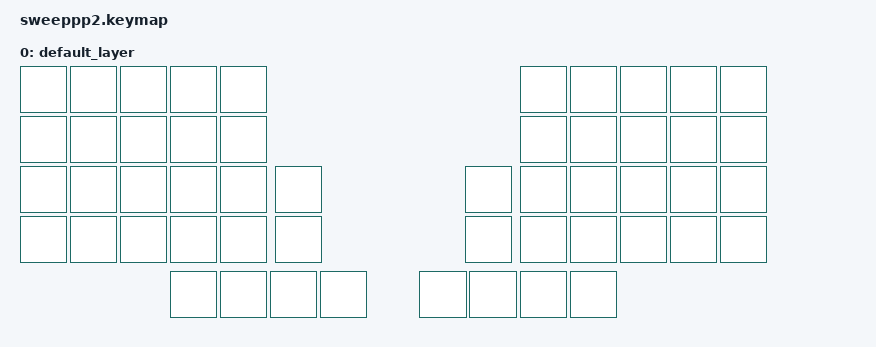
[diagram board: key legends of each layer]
#include <behaviors.dtsi>
#include <dt-bindings/zmk/keys.h>
#include <dt-bindings/zmk/bt.h>

&nice_view_spi {
    cs-gpios = <&pro_micro 2 GPIO_ACTIVE_HIGH>;
};

/ {
    combos {
        compatible = "zmk,combos";

        c1 { bindings = <&kp A>; key-positions = <10>; };
        c2 { bindings = <&kp O>; key-positions = <11>; };
        c3 { bindings = <&kp E>; key-positions = <12>; };
        c4 { bindings = <&kp U>; key-positions = <12 13>; };
        c5 { bindings = <&kp I>; key-positions = <13>; };
        c6 { bindings = <&kp D>; key-positions = <16 17>; };
        c7 { bindings = <&kp H>; key-positions = <16>; };
        c8 { bindings = <&kp T>; key-positions = <17>; };
        c9 { bindings = <&kp N>; key-positions = <18>; };
        c10 { bindings = <&kp S>; key-positions = <19>; };
        c11 { bindings = <&kp SQT>; key-positions = <10 18>; };
        c12 { bindings = <&kp COMMA>; key-positions = <10 11>; };
        c13 { bindings = <&kp DOT>; key-positions = <11 12>; };
        c14 { bindings = <&kp P>; key-positions = <10 13>; };
        c15 { bindings = <&kp Y>; key-positions = <11 13>; };
        c16 { bindings = <&kp F>; key-positions = <13 16>; };
        c17 { bindings = <&kp G>; key-positions = <16 18>; };
        c18 { bindings = <&kp C>; key-positions = <12 17>; };
        c19 { bindings = <&kp R>; key-positions = <17 18>; };
        c20 { bindings = <&kp L>; key-positions = <18 19>; };
        c21 { bindings = <&kp SEMI>; key-positions = <10 16>; };
        c22 { bindings = <&kp Q>; key-positions = <11 18>; };
        c23 { bindings = <&kp J>; key-positions = <12 16>; };
        c24 { bindings = <&kp K>; key-positions = <13 17>; };
        c25 { bindings = <&kp X>; key-positions = <13 18>; };
        c26 { bindings = <&kp B>; key-positions = <11 16>; };
        c27 { bindings = <&kp M>; key-positions = <16 19>; };
        c28 { bindings = <&kp W>; key-positions = <11 17>; };
        c29 { bindings = <&kp V>; key-positions = <12 18>; };
        c30 { bindings = <&kp Z>; key-positions = <17 19>; };
        c31 { bindings = <&kp NUBS>; key-positions = <10 19>; };
        c32 { bindings = <&kp FSLH>; key-positions = <13 19>; };
        c33 { bindings = <&kp LBKT>; key-positions = <10 17>; };
        c34 { bindings = <&kp RBKT>; key-positions = <12 19>; };
        c35 { bindings = <&kp ESC>; key-positions = <11 19>; };
        c36 { bindings = <&kp TAB>; key-positions = <10 12>; };
        c37 { bindings = <&kp GRAVE>; key-positions = <11 12 13>; };
        c38 { bindings = <&kp N1>; key-positions = <12 13 16>; };
        c39 { bindings = <&kp N2>; key-positions = <12 13 17>; };
        c40 { bindings = <&kp N3>; key-positions = <12 13 18>; };
        c41 { bindings = <&kp N4>; key-positions = <12 13 19>; };
        c42 { bindings = <&kp N5>; key-positions = <11 12 16>; };
        c43 { bindings = <&kp N6>; key-positions = <11 12 17>; };
        c44 { bindings = <&kp N7>; key-positions = <11 12 18>; };
        c45 { bindings = <&kp N8>; key-positions = <11 12 19>; };
        c46 { bindings = <&kp N9>; key-positions = <10 11 16>; };
        c47 { bindings = <&kp N0>; key-positions = <10 11 17>; };
        c48 { bindings = <&kp EQUAL>; key-positions = <10 11 18>; };
        c49 { bindings = <&kp MINUS>; key-positions = <10 11 19>; };
        c50 { bindings = <&kp F1>; key-positions = <13 16 17>; };
        c51 { bindings = <&kp F2>; key-positions = <12 16 17>; };
        c52 { bindings = <&kp F3>; key-positions = <11 16 17>; };
        c53 { bindings = <&kp F4>; key-positions = <10 16 17>; };
        c54 { bindings = <&kp F5>; key-positions = <13 17 18>; };
        c55 { bindings = <&kp F6>; key-positions = <12 17 18>; };
        c56 { bindings = <&kp F7>; key-positions = <11 17 18>; };
        c57 { bindings = <&kp F8>; key-positions = <10 17 18>; };
        c58 { bindings = <&kp F9>; key-positions = <13 18 19>; };
        c59 { bindings = <&kp F10>; key-positions = <12 18 19>; };
        c60 { bindings = <&kp F11>; key-positions = <11 18 19>; };
        c61 { bindings = <&kp F12>; key-positions = <10 18 19>; };
        c101 { bindings = <&kp DEL>; key-positions = <23>; };
        c102 { bindings = <&kp BSPC>; key-positions = <34>; };
        c103 { bindings = <&kp SPACE>; key-positions = <35>; };
        c104 { bindings = <&kp ENTER>; key-positions = <36>; };
        c105 { bindings = <&kp LCTRL>; key-positions = <28>; };
        c106 { bindings = <&kp LALT>; key-positions = <39>; };
        c107 { bindings = <&kp LSHFT>; key-positions = <40>; };
        c108 { bindings = <&kp LMETA>; key-positions = <41>; };
        c109 { bindings = <&kp UP>; key-positions = <16 17 18 23>; };
        c110 { bindings = <&kp LEFT>; key-positions = <16 17 18 34>; };
        c111 { bindings = <&kp DOWN>; key-positions = <16 17 18 35>; };
        c112 { bindings = <&kp RIGHT>; key-positions = <16 17 18 36>; };
        c113 { bindings = <&kp PG_UP>; key-positions = <10 11 12 28>; };
        c114 { bindings = <&kp HOME>; key-positions = <10 11 12 39>; };
        c115 { bindings = <&kp PG_DN>; key-positions = <10 11 12 40>; };
        c116 { bindings = <&kp END>; key-positions = <10 11 12 41>; };
        
        c118 { bindings = <&bt BT_SEL 0>; key-positions = <11 12 13 16>; };
        c119 { bindings = <&bt BT_SEL 1>; key-positions = <11 12 13 17>; };
        c120 { bindings = <&bt BT_SEL 2>; key-positions = <11 12 13 18>; };
        c121 { bindings = <&bt BT_SEL 3>; key-positions = <11 12 13 19>; };
        c122 { bindings = <&bt BT_SEL 4>; key-positions = <10 11 12 16>; };
        c123 { bindings = <&bt BT_CLR>; key-positions = <10 11 12 19>; };
    };

    keymap {
        compatible = "zmk,keymap";

        default_layer {
            bindings = <
        //╭───────┬───────┬───────┬───────┬───────╮                   ╭───────┬───────┬───────┬───────┬───────╮
        //│       │       │       │       │       │                   │       │       │       │       │       │
            &none   &none   &none   &none   &none                       &none   &none   &none   &none   &none  
        //├───────┼───────┼───────┼───────┼───────┤                   ├───────┼───────┼───────┼───────┼───────┤
        //│       │       │       │       │       │                   │       │       │       │       │       │
            &none   &none   &none   &none   &none                       &none   &none   &none   &none   &none  
        //├───────┼───────┼───────┼───────┼───────┼───────╮   ╭───────┼───────┼───────┼───────┼───────┼───────┤
        //│       │       │       │       │       │                   │       │       │       │       │       │
            &none   &none   &none   &none   &none   &none       &none   &none   &none    &none  &none   &none  
        //├───────┼───────┼───────┼───────┼───────┼───────┤   ├───────┼───────┼───────┼───────┼───────┼───────┤
        //│       │       │       │       │       │                   │       │       │       │       │       │
            &none   &none   &none   &none   &none   &none       &none   &none   &none   &none   &none   &none  
        //╰───────┴───────┼───────┼───────┼───────┼───────┤   ├───────┼───────┼───────┼───────┼───────┴───────╯
        //                │       │       │       │       │   │       │       │       │       │
                            &none   &none   &none   &none       &none   &none   &none   &none  
        //                ╰───────┴───────┴───────┴───────╯   ╰───────┴───────┴───────┴───────╯
            >;
        };
    };
 };
